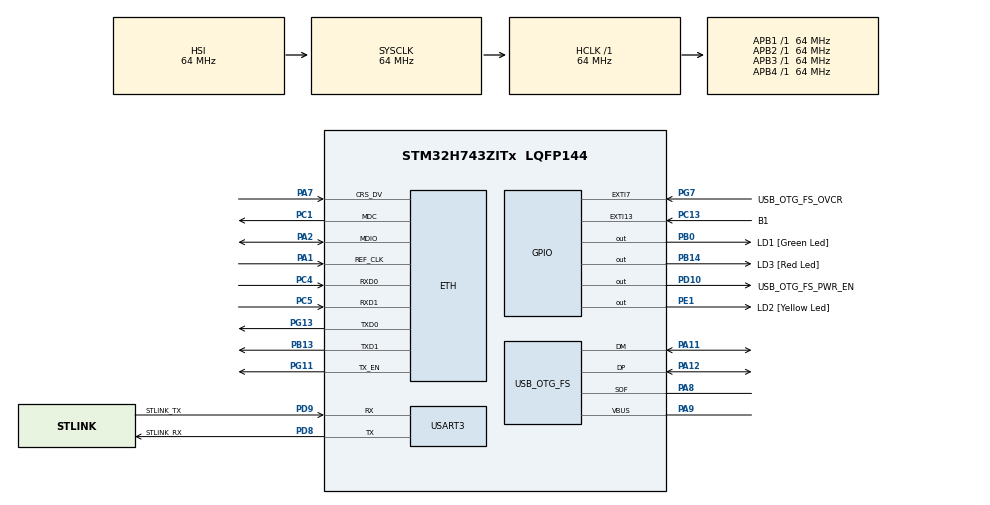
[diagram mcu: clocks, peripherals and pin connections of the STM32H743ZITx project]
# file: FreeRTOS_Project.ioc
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ETH.MediaInterface=HAL_ETH_RMII_MODE
FREERTOS.Mutexes01=uartMutex,Dynamic,NULL,Available
FREERTOS.Queues01=ledQueue,16,uint8_t,0,Dynamic,NULL,NULL
FREERTOS.Tasks01=defaultTask,24,128,StartDefaultTask,Default,NULL,Dynamic,NULL,NULL;LedGreenTask,24,128,StartLedGreenTask,Default,NULL,Dynamic,NULL,NULL;LedYellowTask,24,128,StartLedYellowTask,Default,NULL,Dynamic,NULL,NULL;buttonTask,24,128,StartButtonTask,Default,NULL,Dynamic,NULL,NULL
FREERTOS.configUSE_MUTEXES=1
FREERTOS.configUSE_NEWLIB_REENTRANT=1
FREERTOS.configUSE_RECURSIVE_MUTEXES=1
Mcu.Family=STM32H7
Mcu.Name=STM32H743ZITx
Mcu.Package=LQFP144
NVIC.PriorityGroup=NVIC_PRIORITYGROUP_4
NVIC.TIM6_DAC_IRQn=true\:15\:0\:false\:false\:true\:false\:false\:true\:true
NVIC.TimeBase=TIM6_DAC_IRQn
NVIC.TimeBaseIP=TIM6
PA1.Mode=RMII
PA1.Signal=ETH_REF_CLK
PA11.Mode=Device_Only
PA11.Signal=USB_OTG_FS_DM
PA12.Mode=Device_Only
PA12.Signal=USB_OTG_FS_DP
PA2.Mode=RMII
PA2.Signal=ETH_MDIO
PA7.Mode=RMII
PA7.Signal=ETH_CRS_DV
PA8.Mode=Activate_SOF_FS
PA8.Signal=USB_OTG_FS_SOF
PA9.Mode=Activate_VBUS
PA9.Signal=USB_OTG_FS_VBUS
PB0.GPIO_Label=LD1 [Green Led]
PB0.Signal=GPIO_Output
PB13.Mode=RMII
PB13.Signal=ETH_TXD1
PB14.GPIO_Label=LD3 [Red Led]
PB14.Signal=GPIO_Output
PC1.Mode=RMII
PC1.Signal=ETH_MDC
PC13.GPIO_Label=B1
PC13.GPIO_PuPd=GPIO_NOPULL
PC13.Signal=GPXTI13
PC14-OSC32_IN\ (OSC32_IN).Mode=LSE-External-Oscillator
PC14-OSC32_IN\ (OSC32_IN).Signal=RCC_OSC32_IN
PC15-OSC32_OUT\ (OSC32_OUT).Mode=LSE-External-Oscillator
PC15-OSC32_OUT\ (OSC32_OUT).Signal=RCC_OSC32_OUT
PC4.Mode=RMII
PC4.Signal=ETH_RXD0
PC5.Mode=RMII
PC5.Signal=ETH_RXD1
PD10.GPIO_Label=USB_OTG_FS_PWR_EN
PD10.Signal=GPIO_Output
PD8.GPIO_Label=STLINK_RX
PD8.Mode=Asynchronous
PD8.Signal=USART3_TX
PD9.GPIO_Label=STLINK_TX
PD9.Mode=Asynchronous
PD9.Signal=USART3_RX
PE1.GPIO_Label=LD2 [Yellow Led]
PE1.Signal=GPIO_Output
PG11.Mode=RMII
PG11.Signal=ETH_TX_EN
PG13.Mode=RMII
PG13.Signal=ETH_TXD0
PG7.GPIO_Label=USB_OTG_FS_OVCR
PG7.Signal=GPXTI7
PH0-OSC_IN\ (PH0).Mode=HSE-External-Clock-Source
PH0-OSC_IN\ (PH0).Signal=RCC_OSC_IN
PH1-OSC_OUT\ (PH1).Signal=RCC_OSC_OUT
ProjectManager.HeapSize=0x200
ProjectManager.StackSize=0x400
ProjectManager.TargetToolchain=STM32CubeIDE
RCC.ADCFreq_Value=16125000
RCC.APB1Freq_Value=64000000
RCC.APB2Freq_Value=64000000
RCC.APB3Freq_Value=64000000
RCC.APB4Freq_Value=64000000
RCC.CortexFreq_Value=64000000
RCC.DIVM1=1
RCC.DIVN1=24
RCC.DIVQ1=4
RCC.HCLKFreq_Value=64000000
RCC.HSE_VALUE=8000000
RCC.PLLFRACN=0
RCC.PWR_Regulator_Voltage_Scale=PWR_REGULATOR_VOLTAGE_SCALE2
RCC.SYSCLKFreq_VALUE=64000000
RCC.USBFreq_Value=48000000
USART3.VirtualMode-Asynchronous=VM_ASYNC
USB_OTG_FS.VirtualMode=Device_Only
VP_FREERTOS_VS_CMSIS_V2.Mode=CMSIS_V2
VP_MEMORYMAP_VS_MEMORYMAP.Mode=CurAppReg
VP_SYS_VS_tim6.Mode=TIM6
board=NUCLEO-H743ZI2

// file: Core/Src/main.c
/* USER CODE BEGIN Header */
/**
  ******************************************************************************
  * @file           : main.c
  * @brief          : Main program body
  ******************************************************************************
  * @attention
  *
  * Copyright (c) 2025 STMicroelectronics.
  * All rights reserved.
  *
  * This software is licensed under terms that can be found in the LICENSE file
  * in the root directory of this software component.
  * If no LICENSE file comes with this software, it is provided AS-IS.
  *
  ******************************************************************************
  */
/* USER CODE END Header */
#include "main.h"
#include "string.h"
#include "cmsis_os.h"

#if defined ( __ICCARM__ ) /*!< IAR Compiler */
#pragma location=0x30000000
ETH_DMADescTypeDef  DMARxDscrTab[ETH_RX_DESC_CNT]; /* Ethernet Rx DMA Descriptors */
#pragma location=0x30000080
ETH_DMADescTypeDef  DMATxDscrTab[ETH_TX_DESC_CNT]; /* Ethernet Tx DMA Descriptors */

#elif defined ( __CC_ARM )  /* MDK ARM Compiler */

__attribute__((at(0x30000000))) ETH_DMADescTypeDef  DMARxDscrTab[ETH_RX_DESC_CNT]; /* Ethernet Rx DMA Descriptors */
__attribute__((at(0x30000080))) ETH_DMADescTypeDef  DMATxDscrTab[ETH_TX_DESC_CNT]; /* Ethernet Tx DMA Descriptors */

#elif defined ( __GNUC__ ) /* GNU Compiler */

ETH_DMADescTypeDef DMARxDscrTab[ETH_RX_DESC_CNT] __attribute__((section(".RxDecripSection"))); /* Ethernet Rx DMA Descriptors */
ETH_DMADescTypeDef DMATxDscrTab[ETH_TX_DESC_CNT] __attribute__((section(".TxDecripSection")));   /* Ethernet Tx DMA Descriptors */
#endif

ETH_TxPacketConfig TxConfig;

ETH_HandleTypeDef heth;

UART_HandleTypeDef huart3;

PCD_HandleTypeDef hpcd_USB_OTG_FS;

/* Definitions for defaultTask */
osThreadId_t defaultTaskHandle;
const osThreadAttr_t defaultTask_attributes = {
  .name = "defaultTask",
  .stack_size = 128 * 4,
  .priority = (osPriority_t) osPriorityNormal,
};
/* Definitions for LedGreenTask */
osThreadId_t LedGreenTaskHandle;
const osThreadAttr_t LedGreenTask_attributes = {
  .name = "LedGreenTask",
  .stack_size = 128 * 4,
  .priority = (osPriority_t) osPriorityNormal,
};
/* Definitions for LedYellowTask */
osThreadId_t LedYellowTaskHandle;
const osThreadAttr_t LedYellowTask_attributes = {
  .name = "LedYellowTask",
  .stack_size = 128 * 4,
  .priority = (osPriority_t) osPriorityNormal,
};
/* Definitions for buttonTask */
osThreadId_t buttonTaskHandle;
const osThreadAttr_t buttonTask_attributes = {
  .name = "buttonTask",
  .stack_size = 128 * 4,
  .priority = (osPriority_t) osPriorityNormal,
};
/* Definitions for ledQueue */
osMessageQueueId_t ledQueueHandle;
const osMessageQueueAttr_t ledQueue_attributes = {
  .name = "ledQueue"
};
/* Definitions for uartMutex */
osMutexId_t uartMutexHandle;
const osMutexAttr_t uartMutex_attributes = {
  .name = "uartMutex"
};

void SystemClock_Config(void);
static void MX_GPIO_Init(void);
static void MX_ETH_Init(void);
static void MX_USART3_UART_Init(void);
static void MX_USB_OTG_FS_PCD_Init(void);
void StartDefaultTask(void *argument);
void StartLedGreenTask(void *argument);
void StartLedYellowTask(void *argument);
void StartButtonTask(void *argument);

int main(void)
{

  /* MCU Configuration--------------------------------------------------------*/

  /* Reset of all peripherals, Initializes the Flash interface and the Systick. */
  HAL_Init();

  /* Configure the system clock */
  SystemClock_Config();

  /* Initialize all configured peripherals */
  MX_GPIO_Init();
  MX_ETH_Init();
  MX_USART3_UART_Init();
  MX_USB_OTG_FS_PCD_Init();

  /* Init scheduler */
  osKernelInitialize();
  /* Create the mutex(es) */
  /* creation of uartMutex */
  uartMutexHandle = osMutexNew(&uartMutex_attributes);

  /* Create the queue(s) */
  /* creation of ledQueue */
  ledQueueHandle = osMessageQueueNew (16, sizeof(uint8_t), &ledQueue_attributes);

  /* Create the thread(s) */
  /* creation of defaultTask */
  defaultTaskHandle = osThreadNew(StartDefaultTask, NULL, &defaultTask_attributes);

  /* creation of LedGreenTask */
  LedGreenTaskHandle = osThreadNew(StartLedGreenTask, NULL, &LedGreenTask_attributes);

  /* creation of LedYellowTask */
  LedYellowTaskHandle = osThreadNew(StartLedYellowTask, NULL, &LedYellowTask_attributes);

  /* creation of buttonTask */
  buttonTaskHandle = osThreadNew(StartButtonTask, NULL, &buttonTask_attributes);

  /* Start scheduler */
  osKernelStart();

  /* We should never get here as control is now taken by the scheduler */

  /* Infinite loop */
  while (1)
  {

  }
}

void SystemClock_Config(void)
{
  RCC_OscInitTypeDef RCC_OscInitStruct = {0};
  RCC_ClkInitTypeDef RCC_ClkInitStruct = {0};

  /** Supply configuration update enable
  */
  HAL_PWREx_ConfigSupply(PWR_LDO_SUPPLY);

  /** Configure the main internal regulator output voltage
  */
  __HAL_PWR_VOLTAGESCALING_CONFIG(PWR_REGULATOR_VOLTAGE_SCALE2);

  while(!__HAL_PWR_GET_FLAG(PWR_FLAG_VOSRDY)) {}

  /** Initializes the RCC Oscillators according to the specified parameters
  * in the RCC_OscInitTypeDef structure.
  */
  RCC_OscInitStruct.OscillatorType = RCC_OSCILLATORTYPE_HSI|RCC_OSCILLATORTYPE_HSE;
  RCC_OscInitStruct.HSEState = RCC_HSE_BYPASS;
  RCC_OscInitStruct.HSIState = RCC_HSI_DIV1;
  RCC_OscInitStruct.HSICalibrationValue = RCC_HSICALIBRATION_DEFAULT;
  RCC_OscInitStruct.PLL.PLLState = RCC_PLL_ON;
  RCC_OscInitStruct.PLL.PLLSource = RCC_PLLSOURCE_HSE;
  RCC_OscInitStruct.PLL.PLLM = 1;
  RCC_OscInitStruct.PLL.PLLN = 24;
  RCC_OscInitStruct.PLL.PLLP = 2;
  RCC_OscInitStruct.PLL.PLLQ = 4;
  RCC_OscInitStruct.PLL.PLLR = 2;
  RCC_OscInitStruct.PLL.PLLRGE = RCC_PLL1VCIRANGE_3;
  RCC_OscInitStruct.PLL.PLLVCOSEL = RCC_PLL1VCOWIDE;
  RCC_OscInitStruct.PLL.PLLFRACN = 0;
  if (HAL_RCC_OscConfig(&RCC_OscInitStruct) != HAL_OK)
  {
    Error_Handler();
  }

  /** Initializes the CPU, AHB and APB buses clocks
  */
  RCC_ClkInitStruct.ClockType = RCC_CLOCKTYPE_HCLK|RCC_CLOCKTYPE_SYSCLK
                              |RCC_CLOCKTYPE_PCLK1|RCC_CLOCKTYPE_PCLK2
                              |RCC_CLOCKTYPE_D3PCLK1|RCC_CLOCKTYPE_D1PCLK1;
  RCC_ClkInitStruct.SYSCLKSource = RCC_SYSCLKSOURCE_HSI;
  RCC_ClkInitStruct.SYSCLKDivider = RCC_SYSCLK_DIV1;
  RCC_ClkInitStruct.AHBCLKDivider = RCC_HCLK_DIV1;
  RCC_ClkInitStruct.APB3CLKDivider = RCC_APB3_DIV1;
  RCC_ClkInitStruct.APB1CLKDivider = RCC_APB1_DIV1;
  RCC_ClkInitStruct.APB2CLKDivider = RCC_APB2_DIV1;
  RCC_ClkInitStruct.APB4CLKDivider = RCC_APB4_DIV1;

  if (HAL_RCC_ClockConfig(&RCC_ClkInitStruct, FLASH_LATENCY_1) != HAL_OK)
  {
    Error_Handler();
  }
}

static void MX_ETH_Init(void)
{

   static uint8_t MACAddr[6];

  heth.Instance = ETH;
  MACAddr[0] = 0x00;
  MACAddr[1] = 0x80;
  MACAddr[2] = 0xE1;
  MACAddr[3] = 0x00;
  MACAddr[4] = 0x00;
  MACAddr[5] = 0x00;
  heth.Init.MACAddr = &MACAddr[0];
  heth.Init.MediaInterface = HAL_ETH_RMII_MODE;
  heth.Init.TxDesc = DMATxDscrTab;
  heth.Init.RxDesc = DMARxDscrTab;
  heth.Init.RxBuffLen = 1524;

  if (HAL_ETH_Init(&heth) != HAL_OK)
  {
    Error_Handler();
  }

  memset(&TxConfig, 0 , sizeof(ETH_TxPacketConfig));
  TxConfig.Attributes = ETH_TX_PACKETS_FEATURES_CSUM | ETH_TX_PACKETS_FEATURES_CRCPAD;
  TxConfig.ChecksumCtrl = ETH_CHECKSUM_IPHDR_PAYLOAD_INSERT_PHDR_CALC;
  TxConfig.CRCPadCtrl = ETH_CRC_PAD_INSERT;

}

static void MX_USART3_UART_Init(void)
{

  huart3.Instance = USART3;
  huart3.Init.BaudRate = 115200;
  huart3.Init.WordLength = UART_WORDLENGTH_8B;
  huart3.Init.StopBits = UART_STOPBITS_1;
  huart3.Init.Parity = UART_PARITY_NONE;
  huart3.Init.Mode = UART_MODE_TX_RX;
  huart3.Init.HwFlowCtl = UART_HWCONTROL_NONE;
  huart3.Init.OverSampling = UART_OVERSAMPLING_16;
  huart3.Init.OneBitSampling = UART_ONE_BIT_SAMPLE_DISABLE;
  huart3.Init.ClockPrescaler = UART_PRESCALER_DIV1;
  huart3.AdvancedInit.AdvFeatureInit = UART_ADVFEATURE_NO_INIT;
  if (HAL_UART_Init(&huart3) != HAL_OK)
  {
    Error_Handler();
  }
  if (HAL_UARTEx_SetTxFifoThreshold(&huart3, UART_TXFIFO_THRESHOLD_1_8) != HAL_OK)
  {
    Error_Handler();
  }
  if (HAL_UARTEx_SetRxFifoThreshold(&huart3, UART_RXFIFO_THRESHOLD_1_8) != HAL_OK)
  {
    Error_Handler();
  }
  if (HAL_UARTEx_DisableFifoMode(&huart3) != HAL_OK)
  {
    Error_Handler();
  }

}

static void MX_USB_OTG_FS_PCD_Init(void)
{

  hpcd_USB_OTG_FS.Instance = USB_OTG_FS;
  hpcd_USB_OTG_FS.Init.dev_endpoints = 9;
  hpcd_USB_OTG_FS.Init.speed = PCD_SPEED_FULL;
  hpcd_USB_OTG_FS.Init.dma_enable = DISABLE;
  hpcd_USB_OTG_FS.Init.phy_itface = PCD_PHY_EMBEDDED;
  hpcd_USB_OTG_FS.Init.Sof_enable = ENABLE;
  hpcd_USB_OTG_FS.Init.low_power_enable = DISABLE;
  hpcd_USB_OTG_FS.Init.lpm_enable = DISABLE;
  hpcd_USB_OTG_FS.Init.battery_charging_enable = ENABLE;
  hpcd_USB_OTG_FS.Init.vbus_sensing_enable = ENABLE;
  hpcd_USB_OTG_FS.Init.use_dedicated_ep1 = DISABLE;
  if (HAL_PCD_Init(&hpcd_USB_OTG_FS) != HAL_OK)
  {
    Error_Handler();
  }

}

static void MX_GPIO_Init(void)
{
  GPIO_InitTypeDef GPIO_InitStruct = {0};

  /* GPIO Ports Clock Enable */
  __HAL_RCC_GPIOC_CLK_ENABLE();
  __HAL_RCC_GPIOH_CLK_ENABLE();
  __HAL_RCC_GPIOA_CLK_ENABLE();
  __HAL_RCC_GPIOB_CLK_ENABLE();
  __HAL_RCC_GPIOD_CLK_ENABLE();
  __HAL_RCC_GPIOG_CLK_ENABLE();
  __HAL_RCC_GPIOE_CLK_ENABLE();

  /*Configure GPIO pin Output Level */
  HAL_GPIO_WritePin(GPIOB, LD1_Pin|LD3_Pin, GPIO_PIN_RESET);

  /*Configure GPIO pin Output Level */
  HAL_GPIO_WritePin(USB_OTG_FS_PWR_EN_GPIO_Port, USB_OTG_FS_PWR_EN_Pin, GPIO_PIN_RESET);

  /*Configure GPIO pin Output Level */
  HAL_GPIO_WritePin(LD2_GPIO_Port, LD2_Pin, GPIO_PIN_RESET);

  /*Configure GPIO pin : B1_Pin */
  GPIO_InitStruct.Pin = B1_Pin;
  GPIO_InitStruct.Mode = GPIO_MODE_IT_RISING;
  GPIO_InitStruct.Pull = GPIO_NOPULL;
  HAL_GPIO_Init(B1_GPIO_Port, &GPIO_InitStruct);

  /*Configure GPIO pins : LD1_Pin LD3_Pin */
  GPIO_InitStruct.Pin = LD1_Pin|LD3_Pin;
  GPIO_InitStruct.Mode = GPIO_MODE_OUTPUT_PP;
  GPIO_InitStruct.Pull = GPIO_NOPULL;
  GPIO_InitStruct.Speed = GPIO_SPEED_FREQ_LOW;
  HAL_GPIO_Init(GPIOB, &GPIO_InitStruct);

  /*Configure GPIO pin : USB_OTG_FS_PWR_EN_Pin */
  GPIO_InitStruct.Pin = USB_OTG_FS_PWR_EN_Pin;
  GPIO_InitStruct.Mode = GPIO_MODE_OUTPUT_PP;
  GPIO_InitStruct.Pull = GPIO_NOPULL;
  GPIO_InitStruct.Speed = GPIO_SPEED_FREQ_LOW;
  HAL_GPIO_Init(USB_OTG_FS_PWR_EN_GPIO_Port, &GPIO_InitStruct);

  /*Configure GPIO pin : USB_OTG_FS_OVCR_Pin */
  GPIO_InitStruct.Pin = USB_OTG_FS_OVCR_Pin;
  GPIO_InitStruct.Mode = GPIO_MODE_IT_RISING;
  GPIO_InitStruct.Pull = GPIO_NOPULL;
  HAL_GPIO_Init(USB_OTG_FS_OVCR_GPIO_Port, &GPIO_InitStruct);

  /*Configure GPIO pin : LD2_Pin */
  GPIO_InitStruct.Pin = LD2_Pin;
  GPIO_InitStruct.Mode = GPIO_MODE_OUTPUT_PP;
  GPIO_InitStruct.Pull = GPIO_NOPULL;
  GPIO_InitStruct.Speed = GPIO_SPEED_FREQ_LOW;
  HAL_GPIO_Init(LD2_GPIO_Port, &GPIO_InitStruct);

}

void StartDefaultTask(void *argument)
{
  for(;;)
  {
    osDelay(1);
  }
}

void StartLedGreenTask(void *argument)
{
  /* USER CODE BEGIN StartLedGreenTask */
  /* Infinite loop */
  char msg[] = "Green LED is running\r\n";
  for(;;)
  {
	  osMutexAcquire(uartMutexHandle, osWaitForever); //Take Mutuex or wait for ever
	  // Safely print the message
	  HAL_UART_Transmit(&huart3, (uint8_t*)msg, strlen(msg), HAL_MAX_DELAY);
	  // Give the mutex back so other tasks can use the UART
	  osMutexRelease(uartMutexHandle);
	  HAL_GPIO_TogglePin(GPIOB, LD1_Pin);
	  osDelay(1000);
  }
  /* USER CODE END StartLedGreenTask */
}

void StartLedYellowTask(void *argument)
{
  /* USER CODE BEGIN StartLedYellowTask */
	uint8_t received_msg;
	char msg[] = "Blue LED Toggled!\r\n";
  /* Infinite loop */
  for(;;)
  {
	  osMessageQueueGet(ledQueueHandle, &received_msg, NULL, osWaitForever);
	  // Take over mutex
	  osMutexAcquire(uartMutexHandle, osWaitForever);
	  // Safely print the message
	  HAL_UART_Transmit(&huart3, (uint8_t*)msg, strlen(msg), HAL_MAX_DELAY);
	  // Give mutex back
	  osMutexRelease(uartMutexHandle);

	  HAL_GPIO_TogglePin(LD2_GPIO_Port, LD2_Pin);
  }
  /* USER CODE END StartLedYellowTask */
}

void StartButtonTask(void *argument)
{
  /* USER CODE BEGIN StartButtonTask */
	uint8_t msg_to_send = 1;

  /* Infinite loop */
  for(;;)
  {
	  // Check if the blue user button is pressed.
	  	if (HAL_GPIO_ReadPin(B1_GPIO_Port, B1_Pin) == GPIO_PIN_SET)
	  	{
	  		osMessageQueuePut(ledQueueHandle, &msg_to_send, 0U, 0U);
	  		osDelay(200);
	  	}
	  	osDelay(20);
    // osDelay(1);
  }
  /* USER CODE END StartButtonTask */
}

void HAL_TIM_PeriodElapsedCallback(TIM_HandleTypeDef *htim)
{
  if (htim->Instance == TIM6) {
    HAL_IncTick();
  }
}

void Error_Handler(void)
{
  __disable_irq();
  while (1)
  {
  }
}
